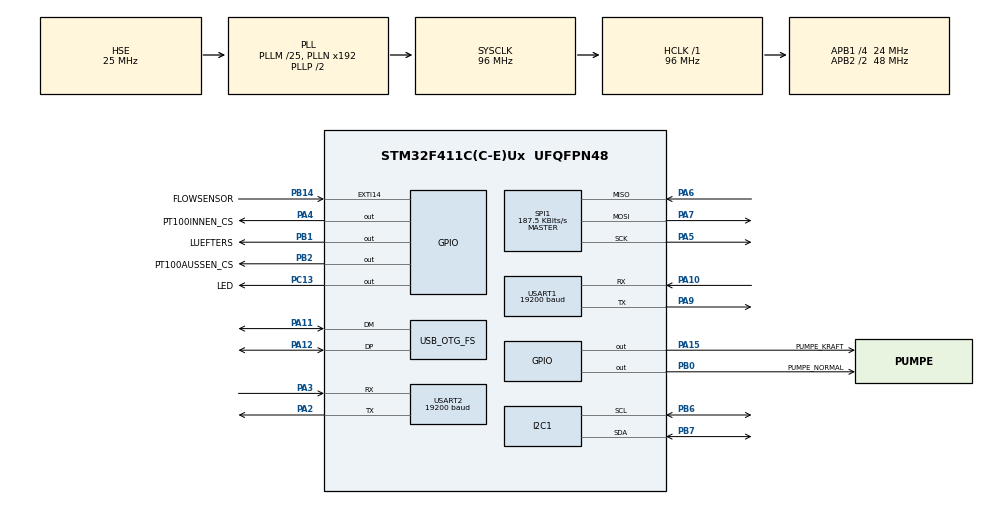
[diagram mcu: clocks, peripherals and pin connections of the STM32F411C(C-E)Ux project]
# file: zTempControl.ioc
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Dma.I2C1_RX.0.Direction=DMA_PERIPH_TO_MEMORY
Dma.I2C1_RX.0.FIFOMode=DMA_FIFOMODE_DISABLE
Dma.I2C1_RX.0.Instance=DMA1_Stream0
Dma.I2C1_RX.0.MemDataAlignment=DMA_MDATAALIGN_BYTE
Dma.I2C1_RX.0.MemInc=DMA_MINC_ENABLE
Dma.I2C1_RX.0.Mode=DMA_NORMAL
Dma.I2C1_RX.0.PeriphDataAlignment=DMA_PDATAALIGN_BYTE
Dma.I2C1_RX.0.PeriphInc=DMA_PINC_DISABLE
Dma.I2C1_RX.0.Priority=DMA_PRIORITY_LOW
Dma.I2C1_TX.1.Direction=DMA_MEMORY_TO_PERIPH
Dma.I2C1_TX.1.FIFOMode=DMA_FIFOMODE_DISABLE
Dma.I2C1_TX.1.Instance=DMA1_Stream1
Dma.I2C1_TX.1.MemDataAlignment=DMA_MDATAALIGN_BYTE
Dma.I2C1_TX.1.MemInc=DMA_MINC_ENABLE
Dma.I2C1_TX.1.Mode=DMA_NORMAL
Dma.I2C1_TX.1.PeriphDataAlignment=DMA_PDATAALIGN_BYTE
Dma.I2C1_TX.1.PeriphInc=DMA_PINC_DISABLE
Dma.I2C1_TX.1.Priority=DMA_PRIORITY_LOW
Dma.Request0=I2C1_RX
Dma.Request1=I2C1_TX
FREERTOS.Tasks01=defaultTask,24,128,StartDefaultTask,Default,NULL,Dynamic,NULL,NULL;checkInVoltage,8,128,StartCheckInV,Default,NULL,Dynamic,NULL,NULL;pidTask,32,128,StartPidTask,Default,NULL,Dynamic,NULL,NULL;checkPower,16,128,StartCheckPower,Default,NULL,Dynamic,NULL,NULL;checkTemp,32,128,startCheckTemp,Default,NULL,Dynamic,NULL,NULL;dpsTalk,32,128,StartDpsTalk,Default,NULL,Dynamic,NULL,NULL;sleepControlTas,16,128,StartSleepControl,Default,NULL,Dynamic,NULL,NULL;pumpenTask,8,128,StartPumpenTask,Default,NULL,Dynamic,NULL,NULL;controlTempSetp,8,128,StartControlTempSet,Default,NULL,Dynamic,NULL,NULL
FREERTOS.Timers01=flowRateTimer,flowRateCallback,osTimerPeriodic,Default,NULL,Dynamic,NULL;wattSekundenTimer,wattSekundenCallback,osTimerPeriodic,Default,NULL,Dynamic,NULL
FREERTOS.configENABLE_FPU=1
FREERTOS.configTIMER_TASK_PRIORITY=6
FREERTOS.configUSE_NEWLIB_REENTRANT=1
I2C1.I2C_Mode=I2C_Fast
I2C1.NoStretchMode=I2C_NOSTRETCH_ENABLE
I2C1.OwnAddress=0x13
Mcu.Family=STM32F4
Mcu.Name=STM32F411C(C-E)Ux
Mcu.Package=UFQFPN48
NVIC.DMA1_Stream0_IRQn=true\:5\:0\:false\:false\:true\:true\:false\:true\:true
NVIC.DMA1_Stream1_IRQn=true\:5\:0\:false\:false\:true\:true\:false\:true\:true
NVIC.EXTI15_10_IRQn=true\:5\:0\:true\:false\:true\:true\:true\:true\:true
NVIC.I2C1_ER_IRQn=true\:5\:0\:false\:false\:true\:true\:true\:true\:true
NVIC.I2C1_EV_IRQn=true\:5\:0\:false\:false\:true\:true\:true\:true\:true
NVIC.OTG_FS_IRQn=true\:5\:0\:false\:false\:true\:true\:true\:true\:true
NVIC.PriorityGroup=NVIC_PRIORITYGROUP_4
NVIC.SPI1_IRQn=true\:5\:0\:true\:false\:true\:true\:true\:true\:true
NVIC.TIM1_TRG_COM_TIM11_IRQn=true\:15\:0\:false\:false\:true\:false\:false\:true\:true
NVIC.TimeBase=TIM1_TRG_COM_TIM11_IRQn
NVIC.TimeBaseIP=TIM11
NVIC.USART1_IRQn=true\:5\:0\:true\:false\:true\:true\:true\:true\:true
NVIC.USART2_IRQn=true\:5\:0\:false\:false\:true\:true\:true\:true\:true
PA10.Mode=Asynchronous
PA10.Signal=USART1_RX
PA11.Mode=Device_Only
PA11.Signal=USB_OTG_FS_DM
PA12.Mode=Device_Only
PA12.Signal=USB_OTG_FS_DP
PA13.Mode=Serial_Wire
PA13.Signal=SYS_JTMS-SWDIO
PA14.Mode=Serial_Wire
PA14.Signal=SYS_JTCK-SWCLK
PA15.GPIO_Label=PUMPE_KRAFT
PA15.Signal=GPIO_Output
PA2.Mode=Asynchronous
PA2.Signal=USART2_TX
PA3.Mode=Asynchronous
PA3.Signal=USART2_RX
PA4.GPIO_Label=PT100INNEN_CS
PA4.Signal=GPIO_Output
PA5.Mode=Full_Duplex_Master
PA5.Signal=SPI1_SCK
PA6.Mode=Full_Duplex_Master
PA6.Signal=SPI1_MISO
PA7.Mode=Full_Duplex_Master
PA7.Signal=SPI1_MOSI
PA9.Mode=Asynchronous
PA9.Signal=USART1_TX
PB0.GPIO_Label=PUMPE_NORMAL
PB0.Signal=GPIO_Output
PB1.GPIO_Label=LUEFTERS
PB1.Signal=GPIO_Output
PB14.GPIO_Label=FLOWSENSOR
PB14.Signal=GPXTI14
PB2.GPIO_Label=PT100AUSSEN_CS
PB2.Signal=GPIO_Output
PB6.Mode=I2C
PB6.Signal=I2C1_SCL
PB7.Mode=I2C
PB7.Signal=I2C1_SDA
PC13-ANTI_TAMP.GPIO_Label=LED
PC13-ANTI_TAMP.Signal=GPIO_Output
PC14-OSC32_IN.Mode=LSE-External-Oscillator
PC14-OSC32_IN.Signal=RCC_OSC32_IN
PC15-OSC32_OUT.Mode=LSE-External-Oscillator
PC15-OSC32_OUT.Signal=RCC_OSC32_OUT
PH0\ -\ OSC_IN.Mode=HSE-External-Oscillator
PH0\ -\ OSC_IN.Signal=RCC_OSC_IN
PH1\ -\ OSC_OUT.Mode=HSE-External-Oscillator
PH1\ -\ OSC_OUT.Signal=RCC_OSC_OUT
ProjectManager.HeapSize=0x200
ProjectManager.StackSize=0x400
ProjectManager.TargetToolchain=STM32CubeIDE
RCC.48MHZClocksFreq_Value=48000000
RCC.AHBFreq_Value=96000000
RCC.APB1CLKDivider=RCC_HCLK_DIV4
RCC.APB1Freq_Value=24000000
RCC.APB1TimFreq_Value=48000000
RCC.APB2CLKDivider=RCC_HCLK_DIV2
RCC.APB2Freq_Value=48000000
RCC.APB2TimFreq_Value=96000000
RCC.CortexFreq_Value=96000000
RCC.HCLKFreq_Value=96000000
RCC.HSE_VALUE=25000000
RCC.HSI_VALUE=16000000
RCC.PLLM=25
RCC.SYSCLKFreq_VALUE=96000000
RCC.SYSCLKSource=RCC_SYSCLKSOURCE_PLLCLK
RCC.VCOOutputFreq_Value=192000000
SPI1.BaudRatePrescaler=SPI_BAUDRATEPRESCALER_256
SPI1.CLKPhase=SPI_PHASE_2EDGE
SPI1.CalculateBaudRate=187.5 KBits/s
SPI1.Direction=SPI_DIRECTION_2LINES
SPI1.Mode=SPI_MODE_MASTER
SPI1.VirtualType=VM_MASTER
USART1.BaudRate=19200
USART1.VirtualMode=VM_ASYNC
USART2.BaudRate=19200
USART2.VirtualMode=VM_ASYNC
USB_DEVICE.CLASS_NAME_FS=CDC
USB_DEVICE.LANGID_STRING=1031
USB_DEVICE.PRODUCT_STRING_CDC_FS=ZTemperatur
USB_DEVICE.VirtualMode=Cdc
USB_DEVICE.VirtualModeFS=Cdc_FS
USB_OTG_FS.VirtualMode=Device_Only
VP_FREERTOS_VS_CMSIS_V2.Mode=CMSIS_V2
VP_SYS_VS_tim11.Mode=TIM11
VP_USB_DEVICE_VS_USB_DEVICE_CDC_FS.Mode=CDC_FS
board=custom

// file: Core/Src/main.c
/* USER CODE BEGIN Header */
/**
 ******************************************************************************
 * @file           : main.c
 * @brief          : Main program body
 ******************************************************************************
 * @attention
 *
 * Copyright (c) 2024 STMicroelectronics.
 * All rights reserved.
 *
 * This software is licensed under terms that can be found in the LICENSE file
 * in the root directory of this software component.
 * If no LICENSE file comes with this software, it is provided AS-IS.
 *
 ******************************************************************************
 */
/* USER CODE END Header */
#include "main.h"
#include "cmsis_os.h"
#include "dma.h"
#include "i2c.h"
#include "spi.h"
#include "usart.h"
#include "usb_device.h"
#include "gpio.h"

/* USER CODE BEGIN Includes */
#include "i2c_slave.h"
#include "common.h"
#include "max31865.h"

/* USER CODE END Includes */

/* USER CODE BEGIN PV */
__IO uint32_t flowCounter = 0;
uint16_t dataRxRegister[4]= {0,0,0,0};
uint16_t dataTxRegister[6]= {0,0,0,0,0,0};
uint8_t zapfBool = 0;
float lastUserSetTemp = 5.0f;

/* USER CODE END PV */

void SystemClock_Config(void);
void MX_FREERTOS_Init(void);
/* USER CODE BEGIN PFP */
void HAL_GPIO_EXTI_Callback(uint16_t GPIO_Pin);

/* USER CODE END PFP */

int main(void)
{

  /* MCU Configuration--------------------------------------------------------*/

  /* Reset of all peripherals, Initializes the Flash interface and the Systick. */
  HAL_Init();

  /* Configure the system clock */
  SystemClock_Config();

  /* Initialize all configured peripherals */
  MX_GPIO_Init();
  MX_DMA_Init();
  MX_SPI1_Init();
  MX_I2C1_Init();
  MX_USART2_UART_Init();
  MX_USART1_UART_Init();
  /* USER CODE BEGIN 2 */

  i2c_slaveStartListen(&hi2c1);
//  HAL_Delay(2000);
//  HAL_GPIO_WritePin(LUEFTERS_GPIO_Port, LUEFTERS_Pin, 1);
//  HAL_Delay(30000);
//  HAL_GPIO_WritePin(LUEFTERS_GPIO_Port, LUEFTERS_Pin, 0);
//  HAL_Delay(2000);
//  HAL_GPIO_WritePin(PUMPE_KRAFT_GPIO_Port, PUMPE_KRAFT_Pin, 1);
//  HAL_Delay(30000);
//  HAL_GPIO_WritePin(PUMPE_KRAFT_GPIO_Port, PUMPE_KRAFT_Pin, 0);
//  HAL_Delay(10000);
//  HAL_GPIO_WritePin(PUMPE_NORMAL_GPIO_Port, PUMPE_NORMAL_Pin, 1);
//  HAL_Delay(30000);
//  HAL_GPIO_WritePin(PUMPE_NORMAL_GPIO_Port, PUMPE_NORMAL_Pin, 0);
//  HAL_Delay(2000);
  /* USER CODE END 2 */

  /* Init scheduler */
  osKernelInitialize();

  /* Call init function for freertos objects (in cmsis_os2.c) */
  MX_FREERTOS_Init();

  /* Start scheduler */
  osKernelStart();

  /* We should never get here as control is now taken by the scheduler */

  /* Infinite loop */
	while (1) {

	}
}

void SystemClock_Config(void)
{
  RCC_OscInitTypeDef RCC_OscInitStruct = {0};
  RCC_ClkInitTypeDef RCC_ClkInitStruct = {0};

  /** Configure the main internal regulator output voltage
  */
  __HAL_RCC_PWR_CLK_ENABLE();
  __HAL_PWR_VOLTAGESCALING_CONFIG(PWR_REGULATOR_VOLTAGE_SCALE1);

  /** Initializes the RCC Oscillators according to the specified parameters
  * in the RCC_OscInitTypeDef structure.
  */
  RCC_OscInitStruct.OscillatorType = RCC_OSCILLATORTYPE_HSE;
  RCC_OscInitStruct.HSEState = RCC_HSE_ON;
  RCC_OscInitStruct.PLL.PLLState = RCC_PLL_ON;
  RCC_OscInitStruct.PLL.PLLSource = RCC_PLLSOURCE_HSE;
  RCC_OscInitStruct.PLL.PLLM = 25;
  RCC_OscInitStruct.PLL.PLLN = 192;
  RCC_OscInitStruct.PLL.PLLP = RCC_PLLP_DIV2;
  RCC_OscInitStruct.PLL.PLLQ = 4;
  if (HAL_RCC_OscConfig(&RCC_OscInitStruct) != HAL_OK)
  {
    Error_Handler();
  }

  /** Initializes the CPU, AHB and APB buses clocks
  */
  RCC_ClkInitStruct.ClockType = RCC_CLOCKTYPE_HCLK|RCC_CLOCKTYPE_SYSCLK
                              |RCC_CLOCKTYPE_PCLK1|RCC_CLOCKTYPE_PCLK2;
  RCC_ClkInitStruct.SYSCLKSource = RCC_SYSCLKSOURCE_PLLCLK;
  RCC_ClkInitStruct.AHBCLKDivider = RCC_SYSCLK_DIV1;
  RCC_ClkInitStruct.APB1CLKDivider = RCC_HCLK_DIV4;
  RCC_ClkInitStruct.APB2CLKDivider = RCC_HCLK_DIV2;

  if (HAL_RCC_ClockConfig(&RCC_ClkInitStruct, FLASH_LATENCY_3) != HAL_OK)
  {
    Error_Handler();
  }
}

/* USER CODE BEGIN 4 */

/*
 * @brief	Interruptroutine, zählt eins hoch wenn der Flowsensor flowt.
 * 			Achtung: Das ist nicht der Flowmeter uC! der Temp uC braucht das auch.
 */
void HAL_GPIO_EXTI_Callback(uint16_t GPIO_Pin) {
	if (GPIO_Pin == FLOWSENSOR_Pin) {
		flowCounter++;
	}
}

/* USER CODE END 4 */

void HAL_TIM_PeriodElapsedCallback(TIM_HandleTypeDef *htim)
{
  if (htim->Instance == TIM11) {
    HAL_IncTick();
  }
}

void Error_Handler(void)
{
	__disable_irq();
	while (1) {
	}
}

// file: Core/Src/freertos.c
/* USER CODE BEGIN Header */
/**
 ******************************************************************************
 * File Name          : freertos.c
 * Description        : Code for freertos applications
 ******************************************************************************
 * @attention
 *
 * Copyright (c) 2024 STMicroelectronics.
 * All rights reserved.
 *
 * This software is licensed under terms that can be found in the LICENSE file
 * in the root directory of this software component.
 * If no LICENSE file comes with this software, it is provided AS-IS.
 *
 ******************************************************************************
 */
/* USER CODE END Header */

#include "FreeRTOS.h"
#include "task.h"
#include "main.h"
#include "cmsis_os.h"

/* USER CODE BEGIN Includes */
#include "spi.h"
#include "gpio.h"
#include <stdint.h>
#include "max31865.h"
#include "usb_device.h"
#include <stdio.h>
#include "semphr.h"
#include "Modbus.h"
#include "common.h"
#include "dpsControl.h"
#include "pid.h"

/* USER CODE END Includes */

/* USER CODE BEGIN PTD */
PID_TypeDef TPID_Innen;
PID_TypeDef TPID_Aussen;
modbus_t getData[2];
modbusHandler_t ModbusH0;
modbusHandler_t ModbusH1;

/* USER CODE END PTD */

/* USER CODE BEGIN Variables */
// PT100 Temperaturfühler Innen
Max31865_t pt100Innen;
uint8_t pt100InnenIsOK;
float pt100InnenTemp, PIDOut_Innen, TempSetpoint_Innen;
float pt100AussenTemp, PIDOut_Aussen, TempSetpoint_Aussen;

// PT100 Temperaturfühler Aussen
Max31865_t pt100Aussen;
uint8_t pt100AussenIsOK;
uint16_t dpsInputVoltage[2];
uint16_t dpsOutputVoltage[2];
uint16_t dpsOutputCurrent[2];
uint16_t actualOutputPower; // W mit einer Kommastelle
// MODBUS
uint16_t ModbusDataIn0[4];
uint16_t ModbusDataIn1[4];
//POWER
uint64_t wattSekunden;
uint8_t sleepMode = 0;
uint8_t oldSleepMode = 0;
//PUMPE
uint8_t kraftPumpeIsOn = 0;
uint8_t normalPumpeIsOn = 0;
//DEBUG
uint8_t debugBatterieStatus = 10; // kann man dann beim debuggen ändern. bei 10 tut sich nix.
/* USER CODE END Variables */
/* Definitions for defaultTask */
osThreadId_t defaultTaskHandle;
const osThreadAttr_t defaultTask_attributes = {
  .name = "defaultTask",
  .stack_size = 128 * 4,
  .priority = (osPriority_t) osPriorityNormal,
};
/* Definitions for checkInVoltage */
osThreadId_t checkInVoltageHandle;
const osThreadAttr_t checkInVoltage_attributes = {
  .name = "checkInVoltage",
  .stack_size = 128 * 4,
  .priority = (osPriority_t) osPriorityLow,
};
/* Definitions for pidTask */
osThreadId_t pidTaskHandle;
const osThreadAttr_t pidTask_attributes = {
  .name = "pidTask",
  .stack_size = 128 * 4,
  .priority = (osPriority_t) osPriorityAboveNormal,
};
/* Definitions for checkPower */
osThreadId_t checkPowerHandle;
const osThreadAttr_t checkPower_attributes = {
  .name = "checkPower",
  .stack_size = 128 * 4,
  .priority = (osPriority_t) osPriorityBelowNormal,
};
/* Definitions for checkTemp */
osThreadId_t checkTempHandle;
const osThreadAttr_t checkTemp_attributes = {
  .name = "checkTemp",
  .stack_size = 128 * 4,
  .priority = (osPriority_t) osPriorityAboveNormal,
};
/* Definitions for dpsTalk */
osThreadId_t dpsTalkHandle;
const osThreadAttr_t dpsTalk_attributes = {
  .name = "dpsTalk",
  .stack_size = 128 * 4,
  .priority = (osPriority_t) osPriorityAboveNormal,
};
/* Definitions for sleepControlTas */
osThreadId_t sleepControlTasHandle;
const osThreadAttr_t sleepControlTas_attributes = {
  .name = "sleepControlTas",
  .stack_size = 128 * 4,
  .priority = (osPriority_t) osPriorityBelowNormal,
};
/* Definitions for pumpenTask */
osThreadId_t pumpenTaskHandle;
const osThreadAttr_t pumpenTask_attributes = {
  .name = "pumpenTask",
  .stack_size = 128 * 4,
  .priority = (osPriority_t) osPriorityLow,
};
/* Definitions for controlTempSetp */
osThreadId_t controlTempSetpHandle;
const osThreadAttr_t controlTempSetp_attributes = {
  .name = "controlTempSetp",
  .stack_size = 128 * 4,
  .priority = (osPriority_t) osPriorityLow,
};
/* Definitions for flowRateTimer */
osTimerId_t flowRateTimerHandle;
const osTimerAttr_t flowRateTimer_attributes = {
  .name = "flowRateTimer"
};
/* Definitions for wattSekundenTimer */
osTimerId_t wattSekundenTimerHandle;
const osTimerAttr_t wattSekundenTimer_attributes = {
  .name = "wattSekundenTimer"
};

/* USER CODE BEGIN FunctionPrototypes */
extern uint8_t CDC_Transmit_FS(uint8_t *Buf, uint16_t Len);
void kraftPumpe(uint8_t offon);
void normalPumpe(uint8_t offon);
/* USER CODE END FunctionPrototypes */

void StartDefaultTask(void *argument);
void StartCheckInV(void *argument);
void StartPidTask(void *argument);
void StartCheckPower(void *argument);
void startCheckTemp(void *argument);
void StartDpsTalk(void *argument);
void StartSleepControl(void *argument);
void StartPumpenTask(void *argument);
void StartControlTempSet(void *argument);
void flowRateCallback(void *argument);
void wattSekundenCallback(void *argument);

extern void MX_USB_DEVICE_Init(void);
void MX_FREERTOS_Init(void); /* (MISRA C 2004 rule 8.1) */

void MX_FREERTOS_Init(void) {
  /* USER CODE BEGIN Init */
	Max31865_init(&pt100Innen, &hspi1, PT100INNEN_CS_GPIO_Port,
	PT100INNEN_CS_Pin, 3, 50);
	Max31865_init(&pt100Aussen, &hspi1, PT100AUSSEN_CS_GPIO_Port,
	PT100AUSSEN_CS_Pin, 3, 50);
	startDPS();

  /* USER CODE END Init */

  /* Create the timer(s) */
  /* creation of flowRateTimer */
  flowRateTimerHandle = osTimerNew(flowRateCallback, osTimerPeriodic, NULL, &flowRateTimer_attributes);

  /* creation of wattSekundenTimer */
  wattSekundenTimerHandle = osTimerNew(wattSekundenCallback, osTimerPeriodic, NULL, &wattSekundenTimer_attributes);

  /* Create the thread(s) */
  /* creation of defaultTask */
  defaultTaskHandle = osThreadNew(StartDefaultTask, NULL, &defaultTask_attributes);

  /* creation of checkInVoltage */
  checkInVoltageHandle = osThreadNew(StartCheckInV, NULL, &checkInVoltage_attributes);

  /* creation of pidTask */
  pidTaskHandle = osThreadNew(StartPidTask, NULL, &pidTask_attributes);

  /* creation of checkPower */
  checkPowerHandle = osThreadNew(StartCheckPower, NULL, &checkPower_attributes);

  /* creation of checkTemp */
  checkTempHandle = osThreadNew(startCheckTemp, NULL, &checkTemp_attributes);

  /* creation of dpsTalk */
  dpsTalkHandle = osThreadNew(StartDpsTalk, NULL, &dpsTalk_attributes);

  /* creation of sleepControlTas */
  sleepControlTasHandle = osThreadNew(StartSleepControl, NULL, &sleepControlTas_attributes);

  /* creation of pumpenTask */
  pumpenTaskHandle = osThreadNew(StartPumpenTask, NULL, &pumpenTask_attributes);

  /* creation of controlTempSetp */
  controlTempSetpHandle = osThreadNew(StartControlTempSet, NULL, &controlTempSetp_attributes);

}

void StartDefaultTask(void *argument)
{
  /* init code for USB_DEVICE */
  MX_USB_DEVICE_Init();
  /* USER CODE BEGIN StartDefaultTask */

	osTimerStart(flowRateTimerHandle, 10000); //startet den FlowRate Timer
	osTimerStart(wattSekundenTimerHandle, 500); //alle 0,5s die Wattzahl mitschreiben
	/* Infinite loop */
	for (;;) {
		//Hier nur ein Lebenszeichen von sich geben
		HAL_GPIO_TogglePin(LED_GPIO_Port, LED_Pin);
		osDelay(1000);

	}
  /* USER CODE END StartDefaultTask */
}

void StartCheckInV(void *argument)
{
  /* USER CODE BEGIN StartCheckInV */
	/* Infinite loop */
	uint16_t eingangsSpannungen[16] = { 1260, 1260, 1260, 1260, 1260, 1260,
			1260, 1260, 1260, 1260, 1260, 1260, 1260, 1260, 1260, 1260 };
	uint32_t komplettspannung = 0;
	uint8_t zaehler = 0;

	/* Infinite loop */
	for (;;) {
		//Alle 5000ms die Spannung checken, aber nur wenn nicht gezapft wird
		if (!zapfBool) {
			if (dpsInputVoltage[0] > 0) {
				eingangsSpannungen[zaehler] = dpsInputVoltage[0];
			}
			zaehler++;
			if (zaehler > 15) {
				zaehler = 0;
			}
		}

		//zum glätten der Eingangsspannung
		komplettspannung = 0;
		for (uint8_t i = 0; i < 16; i++) {
			komplettspannung += eingangsSpannungen[i];
		}
		eingangsSpannung = (uint8_t) (komplettspannung / 160);

		//check hier mal den batteriestatus
		if (eingangsSpannung < 110) {
			batterieStatus = BATT_ULTRALOW;
		}
		if (eingangsSpannung >= 110) {
			batterieStatus = BATT_LOW;
		}
		if (eingangsSpannung > 120) {
			batterieStatus = BATT_NORMAL;
		}
		if (eingangsSpannung > 130) {
			batterieStatus = BATT_HIGH;
		}
		if (eingangsSpannung > 140) {
			batterieStatus = BATT_ULTRAHIGH;
		}

		if (debugBatterieStatus < 10) {
			batterieStatus = debugBatterieStatus;
		}
		dpsSetVoltage(dpsInputVoltage[0] - 115); //muss 1V unter U_in sein
		osDelay(5000);
	}
  /* USER CODE END StartCheckInV */
}

void StartPidTask(void *argument)
{
  /* USER CODE BEGIN StartPidTask */
	TempSetpoint_Aussen = AUSSEN_SET_TEMP;
	TempSetpoint_Innen = INNEN_SET_TEMP;

	PID(&TPID_Aussen, &pt100AussenTemp, &PIDOut_Aussen, &TempSetpoint_Aussen,
	AUSSEN_KP,
	AUSSEN_KI, AUSSEN_KD, _PID_P_ON_E, _PID_CD_REVERSE);
	PID(&TPID_Innen, &pt100InnenTemp, &PIDOut_Innen, &TempSetpoint_Innen,
	INNEN_KP,
	INNEN_KI, INNEN_KD, _PID_P_ON_E, _PID_CD_REVERSE);

	PID_SetMode(&TPID_Aussen, _PID_MODE_AUTOMATIC);
	PID_SetMode(&TPID_Innen, _PID_MODE_AUTOMATIC);

	PID_SetSampleTime(&TPID_Aussen, 1); //macht freeRTOS!
	PID_SetSampleTime(&TPID_Innen, 1); //macht freeRTOS!

	PID_SetOutputLimits(&TPID_Aussen, AUSSEN_MIN_A, AUSSEN_MAX_A);
	PID_SetOutputLimits(&TPID_Innen, INNEN_MIN_A, INNEN_MAX_A);

	/* Infinite loop */
	for (;;) {
		PID_Compute(&TPID_Aussen);
		PID_Compute(&TPID_Innen);
		osDelay(250);

	}
  /* USER CODE END StartPidTask */
}

void StartCheckPower(void *argument)
{
  /* USER CODE BEGIN StartCheckPower */
	/*
	 * je nach Eingangsspannung die maximale Outputpower festlegen
	 * alle 10s reicht dick
	 */
	/* Infinite loop */
	for (;;) {
		switch (batterieStatus) {
		case BATT_ULTRAHIGH:
			dpsOnOff(1);
			dpsSetBacklight(5);
			PID_SetOutputLimits(&TPID_Aussen, AUSSEN_MIN_A, 1800);
			PID_SetOutputLimits(&TPID_Innen, INNEN_MIN_A, 1800);
			break;
		case BATT_HIGH:
			dpsOnOff(1);
			dpsSetBacklight(5);
			PID_SetOutputLimits(&TPID_Aussen, AUSSEN_MIN_A, 1500);
			PID_SetOutputLimits(&TPID_Innen, INNEN_MIN_A, 1200);
			break;
		case BATT_NORMAL:
			dpsOnOff(1);
			dpsSetBacklight(5);
			PID_SetOutputLimits(&TPID_Aussen, AUSSEN_MIN_A, 1000);
			PID_SetOutputLimits(&TPID_Innen, INNEN_MIN_A, 500);
			break;
		case BATT_LOW:
			dpsOnOff(1);
			dpsSetBacklight(1);
			PID_SetOutputLimits(&TPID_Aussen, AUSSEN_MIN_A, 200);
			PID_SetOutputLimits(&TPID_Innen, INNEN_MIN_A, 200);
			break;
		case BATT_ULTRALOW:
			dpsSetBacklight(0);
			dpsOnOff(0);
			break;
		}
		osDelay(10000);

	}
  /* USER CODE END StartCheckPower */
}

/* USER CODE BEGIN Header_startCheckTemp */
/**
 *
 * @brief Function implementing the checkTemp thread.
 * @param argument: Not used
 * @retval None
 */
/* USER CODE END Header_startCheckTemp */
void startCheckTemp(void *argument)
{
  /* USER CODE BEGIN startCheckTemp */
	/* Infinite loop */
	for (;;) {
		float t;
		pt100InnenIsOK = Max31865_readTempC(&pt100Innen, &t);
		pt100InnenTemp = Max31865_Filter(t, pt100InnenTemp, 0.08); //  << For Smoothing data
		blockInnenTemp = (int16_t) (pt100InnenTemp * 100);
		osDelay(490);
		pt100AussenIsOK = Max31865_readTempC(&pt100Aussen, &t);
		pt100AussenTemp = Max31865_Filter(t, pt100AussenTemp, 0.08); //  << For Smoothing data
		blockAussenTemp = (int16_t) (pt100AussenTemp * 100);
		osDelay(490);

	}
  /* USER CODE END startCheckTemp */
}

/* USER CODE BEGIN Header_StartDpsTalk */
/**
 *
 * @brief Function implementing the dpsTalk thread.
 * @param argument: Not used
 * @retval None
 */
/* USER CODE END Header_StartDpsTalk */
void StartDpsTalk(void *argument)
{
  /* USER CODE BEGIN StartDpsTalk */
	dpsSetCurrent(INNEN_MIN_A);
	osDelay(1000);
	dpsSetLock(1);
	osDelay(1000);
	dpsSetLock(1);
	osDelay(1000);

	uint32_t u32NotificationValue;
	getData[0].u8id = 1; // slave address
	getData[0].u8fct = MB_FC_READ_REGISTERS; // function code
	getData[0].u16RegAdd = 0x02; // start address in slave
	getData[0].u16CoilsNo = 4; // number of elements (coils or registers) to read
	getData[0].u16reg = ModbusDataIn0; // pointer to a memory array in the Arduino

	getData[1].u8id = 1; // slave address
	getData[1].u8fct = MB_FC_READ_REGISTERS; // function code
	getData[1].u16RegAdd = 0x02; // start address in slave
	getData[1].u16CoilsNo = 4; // number of elements (coils or registers) to read
	getData[1].u16reg = ModbusDataIn1; // pointer to a memory array

	/* Infinite loop */
	for (;;) {
		if (zapfBool) {
			dpsSetCurrent((uint16_t) PIDOut_Aussen);
		} else {
			dpsSetCurrent((uint16_t) PIDOut_Innen);
		}

		ModbusQuery(&ModbusH0, getData[0]); // make a query
		u32NotificationValue = ulTaskNotifyTake(pdTRUE, portMAX_DELAY); // block until query finishes
		if (u32NotificationValue != ERR_OK_QUERY) {
			dpsError();
		}
		dpsOutputVoltage[0] = ModbusDataIn0[0];
		dpsOutputCurrent[0] = ModbusDataIn0[1];
		dpsInputVoltage[0] = ModbusDataIn0[3];

		osDelay(100);

		ModbusQuery(&ModbusH1, getData[1]); // make a query
		u32NotificationValue = ulTaskNotifyTake(pdTRUE, portMAX_DELAY); // block until query finishes
		if (u32NotificationValue != ERR_OK_QUERY) {
			dpsError();
		}
		dpsOutputVoltage[1] = ModbusDataIn1[0];
		dpsOutputCurrent[1] = ModbusDataIn1[1];
		dpsInputVoltage[1] = ModbusDataIn1[3];

		osDelay(100);

		eingangsSpannung = (dpsInputVoltage[0] + dpsInputVoltage[1]) / 20; //schnittmenge mit 1 kommastelle

	}
  /* USER CODE END StartDpsTalk */
}

void StartSleepControl(void *argument)
{
  /* USER CODE BEGIN StartSleepControl */
	/* Infinite loop */
	for (;;) {
		if (sleepMode && !oldSleepMode) {
			oldSleepMode = sleepMode;
			osTimerStop(wattSekundenTimerHandle);
			osTimerStop(flowRateTimerHandle);
			vTaskSuspend(defaultTaskHandle);
			HAL_GPIO_WritePin(LED_GPIO_Port, LED_Pin, 0);
			vTaskSuspend(checkInVoltageHandle);
			vTaskSuspend(checkPowerHandle);
			vTaskSuspend(checkTempHandle);
			vTaskSuspend(pidTaskHandle);
			vTaskSuspend(dpsTalkHandle);
			vTaskSuspend(pumpenTaskHandle);
			vTaskSuspend(controlTempSetpHandle);
			dpsOnOff(0);
			osDelay(100);
			dpsSetLock(1);
			osDelay(100);
			dpsSetBacklight(5);
			osDelay(100);
			dpsSetVoltage(0);
			osDelay(100);
			dpsSetCurrent(0);
			osDelay(500);
			kraftPumpe(0);
			dpsSetBacklight(4);
			osDelay(1000);
			normalPumpe(0);
			dpsSetBacklight(3);
			osDelay(1000);
			HAL_GPIO_WritePin(LUEFTERS_GPIO_Port, LUEFTERS_Pin, 0);
			dpsSetBacklight(2);
			osDelay(1000);
			dpsSetBacklight(1);
			osDelay(1000);
			dpsSetBacklight(0);
			osDelay(1000);
			HAL_GPIO_WritePin(LED_GPIO_Port, LED_Pin, 1); //invertiert, daher 1
		}

		if (!sleepMode && oldSleepMode) {
			oldSleepMode = sleepMode;
			osTimerStart(wattSekundenTimerHandle, 500);
			osTimerStart(flowRateTimerHandle, 10000);
			vTaskResume(defaultTaskHandle);
			vTaskResume(checkInVoltageHandle);
			vTaskResume(checkPowerHandle);
			vTaskResume(checkTempHandle);
			vTaskResume(pidTaskHandle);
			vTaskResume(dpsTalkHandle);
			vTaskResume(pumpenTaskHandle);
			vTaskResume(controlTempSetpHandle);
			dpsSetLock(1);
			kraftPumpe(1);
			osDelay(5000);
			normalPumpe(1);
			osDelay(1000);
			dpsSetBacklight(5);
			osDelay(1000);
			dpsSetCurrent(INNEN_MIN_A);
			osDelay(1000);
			dpsOnOff(1);
		}
		osDelay(500);
	}
  /* USER CODE END StartSleepControl */
}

/* USER CODE BEGIN Header_StartPumpenTask */
/**
 * @brief Function implementing the pumpenTask thread.
 * 		 Hier wird gecheckt ob die große Pumpe gebraucht wird
 *
 * @param argument: Not used
 * @retval None
 */
/* USER CODE END Header_StartPumpenTask */
void StartPumpenTask(void *argument)
{
  /* USER CODE BEGIN StartPumpenTask */
	kraftPumpe(1);
	osDelay(5000);
	normalPumpe(1);
	/* Infinite loop */
	osDelay(5000); // GIVE HIM TIME!!!!!!!!!!1!11!!
	for (;;) {
		osDelay(1000);
		if (batterieStatus < BATT_ULTRALOW) {
			if (stromVerbrauchAktuell > 9900 && !kraftPumpeIsOn) {
				kraftPumpe(1);
			}
			if (kuehlWasserTemp > 3500 && !kraftPumpeIsOn){
				kraftPumpe(1);
			}

			if (stromVerbrauchAktuell < 1 && kuehlWasserTemp < 3500) {
				kraftPumpe(0);
				normalPumpe(0);
			}

			if (stromVerbrauchAktuell > 0
					&& (!kraftPumpeIsOn && !normalPumpeIsOn)) {
				kraftPumpe(1);
				osDelay(5000); //delay weil die normale Pumpe das am Anfang nicht schafft
				normalPumpe(1);
			}

			if (stromVerbrauchAktuell < 9900 && kraftPumpeIsOn) {
				normalPumpe(1);
				osDelay(1000);
				kraftPumpe(0);
			}
		} else {
			/* no power, no PUmpe */
			kraftPumpe(0);
			osDelay(2000);
			normalPumpe(0);
		}
	}
	osDelay(567);

  /* USER CODE END StartPumpenTask */
}

void StartControlTempSet(void *argument)
{
  /* USER CODE BEGIN StartControlTempSet */
	TempSetpoint_Aussen = lastUserSetTemp;
	TempSetpoint_Innen = lastUserSetTemp;
	/* Infinite loop */
	for (;;) {
		if (kuehlWasserTemp-2800 > (uint16_t)(lastUserSetTemp *100)){
			lastUserSetTemp = (float)((kuehlWasserTemp/100-28));
		}

		switch (batterieStatus) {
		case BATT_ULTRAHIGH:
			/* kühl weg den Strom! Sonst geht die Batterie über!*/
			if (kuehlWasserTemp < 3500) {
				TempSetpoint_Aussen = 2.5f;
				TempSetpoint_Innen = 1.5f;
			} else
			{
				TempSetpoint_Aussen = lastUserSetTemp;
				TempSetpoint_Innen = lastUserSetTemp;
			}

			break;
		case BATT_HIGH:
			if (lastUserSetTemp > 3) {
				TempSetpoint_Aussen = lastUserSetTemp;
				TempSetpoint_Innen = lastUserSetTemp;
			} else {
				TempSetpoint_Aussen = 3.0f;
				TempSetpoint_Innen = 4.0f;
			}
			break;
		case BATT_NORMAL:
			if (lastUserSetTemp > 4) {
				TempSetpoint_Aussen = lastUserSetTemp;
				TempSetpoint_Innen = lastUserSetTemp;
			} else {
				TempSetpoint_Aussen = 4.0f;
				TempSetpoint_Innen = 4.0f;
			}
			break;
		case BATT_LOW:
			/* BEDA! NOCHSCHIERN! */
			TempSetpoint_Aussen = 14.0f;
			TempSetpoint_Innen = 12.0f;
			break;
		case BATT_ULTRALOW:
			/* drink warm beer you fool!*/
			TempSetpoint_Aussen = 20.0f;
			TempSetpoint_Innen = 20.0f;
			break;
		}
		osDelay(200);
	}
  /* USER CODE END StartControlTempSet */
}

/* flowRateCallback function */
void flowRateCallback(void *argument)
{
  /* USER CODE BEGIN flowRateCallback */
	/* nimmt alle 10s die vom Flowmeter gemessenen Daten und teilt sie durch zehn sekunden :) */
	kuehlWasserFlowRate = (uint16_t) (flowCounter / 50); //wir nehmens einfach mal durch 50....
	flowCounter = 0;
	if (kuehlWasserFlowRate == 0 && stromVerbrauchAktuell > 0) {
		HAL_GPIO_WritePin(LUEFTERS_GPIO_Port, LUEFTERS_Pin, 1);
	} else {
		HAL_GPIO_WritePin(LUEFTERS_GPIO_Port, LUEFTERS_Pin, 0);
	}
	if (kuehlWasserTemp > 3500) {
		HAL_GPIO_WritePin(LUEFTERS_GPIO_Port, LUEFTERS_Pin, 1);
	}
  /* USER CODE END flowRateCallback */
}

/* wattSekundenCallback function */
void wattSekundenCallback(void *argument)
{
  /* USER CODE BEGIN wattSekundenCallback */
	actualOutputPower = (dpsOutputCurrent[0] / 10) * (dpsOutputVoltage[0] / 10);
	actualOutputPower += (dpsOutputCurrent[1] / 10)
			* (dpsOutputVoltage[1] / 10);

	stromVerbrauchAktuell = actualOutputPower;  //jetzt W mit 2 Nackommastellen!
	wattSekunden += stromVerbrauchAktuell / 2;
	stromVerbrauchLetzteZapfung = (uint16_t) (wattSekunden / 36000);
  /* USER CODE END wattSekundenCallback */
}

/* USER CODE BEGIN Application */
void kraftPumpe(uint8_t onoff) {

	if (onoff) {
		HAL_GPIO_WritePin(PUMPE_KRAFT_GPIO_Port, PUMPE_KRAFT_Pin, 1);
		kraftPumpeIsOn = 1;
	} else {
		HAL_GPIO_WritePin(PUMPE_KRAFT_GPIO_Port, PUMPE_KRAFT_Pin, 0);
		kraftPumpeIsOn = 0;
	}
}

void normalPumpe(uint8_t onoff) {
	if (onoff) {
		HAL_GPIO_WritePin(PUMPE_NORMAL_GPIO_Port, PUMPE_NORMAL_Pin, 1);
		normalPumpeIsOn = 1;
	} else {
		HAL_GPIO_WritePin(PUMPE_NORMAL_GPIO_Port, PUMPE_NORMAL_Pin, 0);
		normalPumpeIsOn = 0;
	}

}
/* USER CODE END Application */
